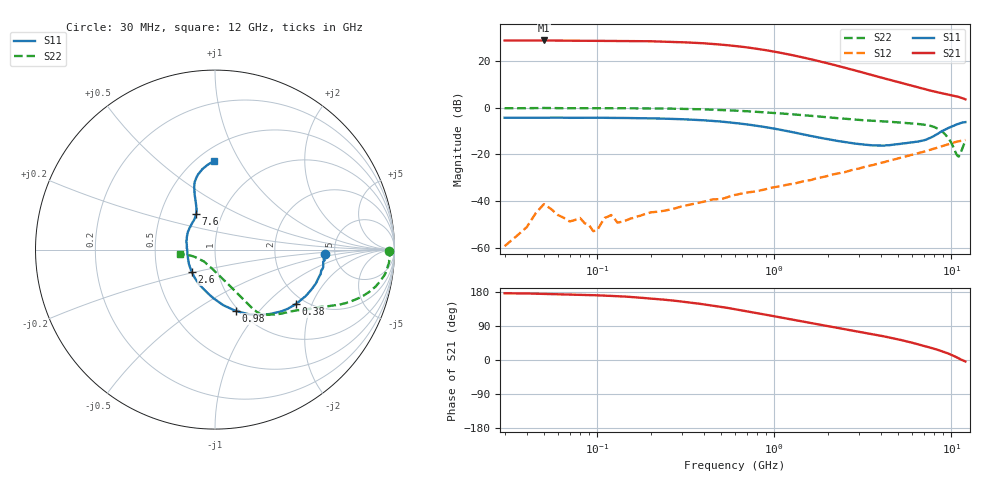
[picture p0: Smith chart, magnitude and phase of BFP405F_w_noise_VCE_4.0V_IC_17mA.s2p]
! Infineon Technologies  Discrete & RF Semiconductors
! BFP405F
! VCE =  4.0 V,  IC =  17 mA
! Common Emitter S-Parameters:  Nov 2015
# GHz  S  MA  R  50
!  f  S11  S21  S12  S22
! GHz  MAG  ANG  MAG  ANG  MAG  ANG  MAG  ANG
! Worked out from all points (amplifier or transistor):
!   239 points, 30 MHz to 12 GHz, reference 50 ohm
!   highest |S21| = 28.7 dB at 50 MHz (marker M1)
!   |S21| within 3 dB of that: start of sweep to 709 MHz
!   unconditionally stable (mu >= 1): start of sweep to 31.78 MHz; 1.901 GHz to end of sweep
!   at 300 MHz: K = 0.32, MSG = 35.1 dB, |S12| = -42.2 dB
!   at 1.88 GHz: K = 0.99, MSG = 24.5 dB, |S12| = -29.6 dB
!   at 12 GHz: K = 1.37, MAG = 5.1 dB, |S12| = -13.8 dB
!   lowest NFmin = 2.08 dB at 450 MHz
!   S11 on the Smith chart (normalised r, x): 30 MHz: 4.11, -0.32; 380 MHz: 1.80, -1.54; 980 MHz: 0.97, -0.76; 2.6 GHz: 0.75, -0.19; 7.6 GHz: 0.75, +0.32; 12 GHz: 0.61, +0.79
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0.03  0.6106 -2.3  27.15 176.1  0.0011 15.1  0.9705 -0.3
0.04  0.6125 -3.3  27.11 175.6  0.0028 61.8  0.9735 -0.4
0.05  0.6079 -5.2  27.27 174.4  0.0087 36.3  0.9848 -1.6
0.085  0.6088 -7.8  26.83 171.7  0.0034 33.0  0.9737 -2.5
0.145  0.602 -13.6  26.56 167.3  0.0039 74.5  0.9705 -4.8
0.2  0.5928 -18.6  26.21 162.1  0.0058 77.6  0.9629 -6.8
0.24  0.5822 -22.2  25.68 159.1  0.0063 81.3  0.9572 -8.2
0.3  0.5671 -27.3  25.05 154.2  0.0078 75.7  0.943 -10.0
0.38  0.5428 -33.8  23.95 148.3  0.0094 77.4  0.9246 -12.2
0.46  0.5182 -40.0  22.83 142.8  0.011 75.7  0.9019 -14.3
0.6  0.4708 -49.7  20.78 134.0  0.0137 74.5  0.8651 -17.3
0.7  0.4395 -55.7  19.44 128.6  0.0154 73.4  0.8396 -19.0
0.8  0.4094 -61.9  18.04 123.6  0.0164 73.8  0.814 -20.6
0.98  0.3612 -71.0  15.94 116.1  0.0197 70.8  0.7744 -22.9
1.3  0.293 -85.8  12.95 105.4  0.0239 71.7  0.7153 -26.0
1.64  0.2453 -99.8  10.64 97.0  0.0291 69.9  0.6659 -28.7
2.06  0.2087 -116.7  8.646 88.6  0.036 70.1  0.618 -32.3
2.6  0.1791 -135.8  6.858 80.1  0.0437 68.9  0.572 -36.2
4.5  0.1588 172.4  3.914 59.2  0.0744 63.4  0.4991 -46.2
7.6  0.2264 117.5  2.32 32.6  0.1259 51.1  0.41 -56.5
11  0.4547 98.8  1.696 4.2  0.1919 31.4  0.0903 -132.7
12  0.491 90.5  1.507 -4.0  0.2035 25.6  0.1951 -172.6
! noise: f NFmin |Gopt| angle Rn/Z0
0.45  2.08  0.07  0  0.34
0.9  2.1  0.06  2  0.36
1.5  2.15  0.05  1  0.23
1.9  2.21  0.03  -15  0.22
2.4  2.35  0.02  -69  0.34
3  2.44  0.03  -103  0.11
3.5  2.5  0.05  -109  0.28
4.5  2.72  0.11  -100  0.41
5.5  3  0.19  -88  0.37
